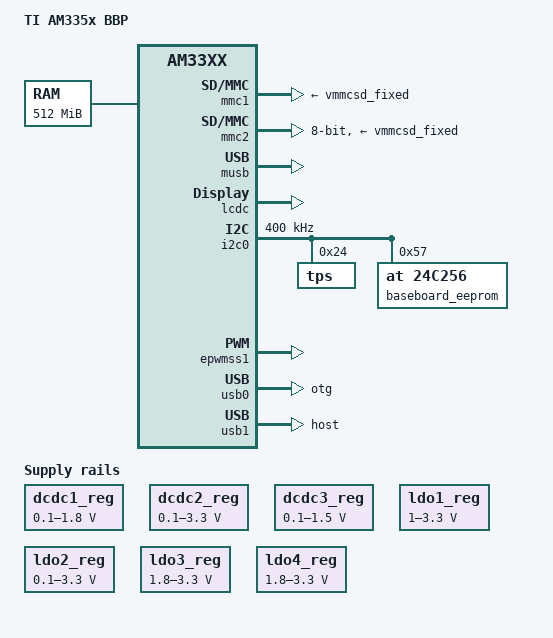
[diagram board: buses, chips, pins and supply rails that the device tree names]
/*
 Copyright (C) 2012 Texas Instruments Incorporated - http://www.ti.com/

 This program is free software; you can redistribute it and/or modify
 it under the terms of the GNU General Public License version 2 as
 published by the Free Software Foundation.
*/
/dts-v1/;

#include "am33xx.dtsi"
#include "am335x-bone-common-no-capemgr.dtsi"
#include "am335x-peripheral-i2c2.dtsi"
#include "am335x-bone-common-universal.dtsi"
#include "am335x-bone-pinmux-can0.dtsi"
#include "am335x-bone-pinmux-can1.dtsi"
//#include "am335x-bone-pinmux-spi0.dtsi"
//#include "am335x-bone-emmc-in-reset.dtsi"
//#include "am335x-bone-pinmux-panel-1024x600-24bit.dtsi"
#include "am33xx-overlay-edma-fix.dtsi"
#include "am33xx-clocks.dtsi"
#include <dt-bindings/board/am335x-bbw-bbb-base.h>
#include <dt-bindings/pinctrl/am33xx.h>
#include <dt-bindings/interrupt-controller/irq.h>
#include <dt-bindings/gpio/gpio.h>
#include <dt-bindings/input/linux-event-codes.h>

/* #include "am335x-bone-jtag.dtsi" */

/ {
	model = "TI AM335x BBP";
	compatible = "ti,am335x-bone-black", "ti,am335x-bone", "ti,am33xx", "ti,beaglebone", "ti,beaglebone-black", "ti,unicron";

	memory {
		device_type = "memory";
		reg = <0x80000000 0x20000000>; /* 512 MB */
	};

	/delete-node/ keymap3_pins;
	/delete-node/ i2c1_pins;
	/delete-node/ gpio_keys;
	/delete-node/ sound;
	/delete-node/ lcd-led0;
	/delete-node/ tlv320aic3x;
//	/delete-node/ edt-ft5306@38;
	/delete-node/ mcasp0_pins;
//	/delete-node/ spi0
//	/delete-node/ spi1;
};

&mmc1 {
	vmmc-supply = <&vmmcsd_fixed>;
	ti,vcc-aux-disable-is-sleep;
};

&mmc2 {
	vmmc-supply = <&vmmcsd_fixed>;
	pinctrl-names = "default";
	pinctrl-0 = <&emmc_pins>;
	bus-width = <8>;
	status = "okay";
	ti,non-removable;
};

&am33xx_pinmux {
/*
	P9_22_spi_pin: pinmux_P9_22_spi_pin {
		pinctrl-single,pins = <
			BONE_P9_22 (PIN_INPUT_PULLDOWN | MUX_MODE0) 	// (A17) spi0_sclk.spi0_sclk
		>;
	};
	P9_21_spi_pin: pinmux_P9_21_spi_pin {
		pinctrl-single,pins = <
			BONE_P9_21 (PIN_INPUT_PULLUP | MUX_MODE0)	// (B17) spi0_d0.spi0_d0
		>;
	};
	P9_18_spi_pin: pinmux_P9_18_spi_pin {
		pinctrl-single,pins = <
			BONE_P9_18 (PIN_INPUT_PULLDOWN | MUX_MODE0)	// (B16) spi0_d1.spi0_d1
		>;
	};
	P9_17_spi_pin: pinmux_P9_17_spi_pin {
		pinctrl-single,pins = <
			BONE_P9_17 (PIN_INPUT_PULLUP | MUX_MODE0)	// (A16) spi0_cs0.spi0_cs0
		>;
	};
*/
/*
	bb_spi1_pins: pinmux_bb_spi1_pins {
		pinctrl-single,pins = <
			BONE_P9_31 (PIN_OUTPUT_PULLDOWN | MUX_MODE3) // P9_31: mcasp0_aclkx.spi1_sclk
			BONE_P9_29 (PIN_INPUT_PULLDOWN | MUX_MODE3) // P9_29: mcasp0_fsx.spi1_d0
			BONE_P9_30 (PIN_OUTPUT_PULLDOWN | MUX_MODE3) // P9_30: mcasp0_axr0.spi1_d1
			BONE_P9_28 (PIN_OUTPUT_PULLUP | MUX_MODE3) // P9_28: mcasp0_ahclkr.spi1_cs0
			//BONE_P9_19 (PIN_OUTPUT_PULLDOWN | MUX_MODE4) // P9_19: uart1_rtsn.spi1_cs1
			>;
		      };
*/
/*	ecap0_default_pins: pinmux_ecap0_default_pins {
		pinctrl-single,pins = <
			BONE_P9_42A (PIN_OUTPUT_PULLDOWN | MUX_MODE0)       // eCAP0_in_PWM0_out.eCAP0_in_PWM0_out MODE0
		>;
	};
*/
/*	ehrpwm0_pins: pinmux_ehrpwm0_pins {
	//P9_22_pwm_pin: pinmux_P9_22_pwm_pin {
		pinctrl-single,pins = <
			BONE_P9_22 (PIN_OUTPUT_PULLDOWN | MUX_MODE3)	// spi0_sclk.ehrpwm0A
		>;
	};
	P9_21_pwm_pin: pinmux_P9_21_pwm_pin {
		pinctrl-single,pins = <
			BONE_P9_21 (PIN_OUTPUT_PULLDOWN | MUX_MODE3)	// spi0_d0.ehrpwm0B
		>;
	};*/
/* BBP ONLY
	ehrpwm1a_pins: pinmux_ehrpwm1a_pins {
		pinctrl-single,pins = <
			AM33XX_IOPAD(0x848, PIN_OUTPUT_PULLDOWN | MUX_MODE6)     // gpmc_a2.ehrpwm1a
		>;
	};
*/

//	ehrpwm1b_pins: pinmux_ehrpwm1b_pins {
/*	P9_16_pwm_pin: pinmux_P9_16_pwm_pin {
		pinctrl-single,pins = <
			BONE_P9_16 (PIN_OUTPUT_PULLDOWN | MUX_MODE6)     // gpmc_a3.ehrpwm1b
		>;
	};

	gpio_leds_pins: pinmux_gpio_leds_pins {
		pinctrl-single,pins = <
			0x198 (PIN_OUTPUT_PULLDOWN | MUX_MODE7)			// mcasp0_aclkr.gpio3_18
		>;
	};
*/
//	P9_20_i2c_pin: pinmux_P9_20_i2c_pin {
//		pinctrl-single,pins = <0x178  0x73>; };     /* (SLEWCTRL_SLOW | PIN_INPUT_PULLUP | MUX_MODE3) */

	pwr_button_pins: pinmux_pwr_button_pins {
		pinctrl-single,pins = <
			BONE_P9_30 (PIN_INPUT_PULLDOWN | MUX_MODE7) // mcasp0_axr0.gpio3_16
		>;
	};
	usb0_pins: pinmux_usb0_pins {
		pinctrl-single,pins = <
			0x21c (PIN_OUTPUT_PULLDOWN | MUX_MODE0) // usb0_drvvbus.usb0_drvvbus
		>;
	};

	usb1_pins: pinmux_usb1_pins {
		pinctrl-single,pins = <
			0x234 (PIN_OUTPUT_PULLDOWN | MUX_MODE0) // usb1_drvvbus.usb1_drvvbus
		>;
	};

/*
	bb_lcd_pwm_backlight_pins: pinmux_bb_lcd_pwm_backlight_pins {
		pinctrl-single,pins = <
			0x1b0 (PIN_OUTPUT_PULLUP | MUX_MODE7)	// xdma_event_intr0.gpio0_19
		>;
	};
*/
/*	user_leds_default: user_leds_default {
	      pinctrl-single,pins = <
			BONE_P9_42B (PIN_OUTPUT_PULLDOWN | MUX_MODE7)	// mcasp0_aclkr.gpio3_18
		>;
	};
	user_leds_sleep: user_leds_sleep {
	      pinctrl-single,pins = <
			BONE_P9_42B (PIN_INPUT_PULLDOWN | MUX_MODE7)	// mcasp0_aclkr.gpio3_18
		>;
	};
*/
	//edt_ft5306_ts_pins: pinmux_edt_ft5306_ts_pins
	P9_91_gpio_pd_pin: pinmux_P9_91_gpio_pd_pin {
	      pinctrl-single,pins = <
			BONE_P9_41B (PIN_OUTPUT_PULLUP | MUX_MODE7)	// mcasp0_axr1.gpio3_20
		>;
	};
	drv8825_stepper_pins: pinmux_drv8825_stepper_pins {
		pinctrl-single,pins = <
			0x54 (PIN_OUTPUT_PULLDOWN | MUX_MODE7)		/* gpmc_a5.gpio1_21, step x */
			0x58 (PIN_OUTPUT_PULLDOWN | MUX_MODE7)		/* gpmc_a6.gpio1_22, step y */ 
			0x5C (PIN_OUTPUT_PULLDOWN | MUX_MODE7)		/* gpmc_a7.gpio1_23, step z */
			BONE_P9_12 (PIN_OUTPUT_PULLDOWN | MUX_MODE7)	/* gpmc_ben1.gpio1_28, step ext1 */
			0x60 (PIN_OUTPUT_PULLDOWN | MUX_MODE7)		/* gpmc_a8.gpio1_24, step ext2 */
			0x64 (PIN_OUTPUT_PULLDOWN | MUX_MODE7)		/* gpmc_a9.gpio1_25, step ext3 */ 
			0x6C (PIN_OUTPUT_PULLDOWN | MUX_MODE7)		/* gpmc_a11.gpio1_27, step user */
			0X07 (PIN_OUTPUT_PULLDOWN | MUX_MODE7)		/* gpmc_a2.gpio1_18, step exp */
			0x88 (PIN_OUTPUT_PULLDOWN | MUX_MODE7)		/* gpmc_csn3.gpio2_0, dir x */
			BONE_P8_10 (PIN_OUTPUT_PULLDOWN | MUX_MODE7)	/* gpmc_gpmc_wen.gpio2_4, dir y */
			BONE_P8_08 (PIN_OUTPUT_PULLDOWN | MUX_MODE7)	/* gpmc_oen_ren.gpio2_3, dir z */
			BONE_P8_07 (PIN_OUTPUT_PULLDOWN | MUX_MODE7)	/* gpmc_advn_ale.gpio2_2, dir ext1 */
			BONE_P8_09 (PIN_OUTPUT_PULLDOWN | MUX_MODE7)	/* gpmc_ben0_cle.gpio2_5, dir ext2 */
			0x1E4 (PIN_OUTPUT_PULLDOWN | MUX_MODE7)		/* emu0.gpio3_7, dir ext3 */
			0x1E8 (PIN_OUTPUT_PULLDOWN | MUX_MODE7)		/* emu1.gpio3_8, dir user */
			BONE_P9_41A (PIN_OUTPUT_PULLDOWN | MUX_MODE7)	/* xdma_event_intr1.gpio0_20, dir exp */
			BONE_P9_20 (PIN_OUTPUT_PULLDOWN | MUX_MODE7)	/* uart1_ctsn.gpio0_12, 12V-EN */
		>;
	};

/*
	lmsw_pins: pinmux_lmsw_pins {
		pinctrl-single,pins = <
			BONE_P8_18 (PIN_INPUT_PULLUP | MUX_MODE7)	// gpmc_clk.gpio2_1
			BONE_P9_23 (PIN_INPUT_PULLUP | MUX_MODE7)	// gpmc_a1.gpio1_17
			BONE_P9_13 (PIN_INPUT_PULLUP | MUX_MODE7)	// gpmc_wpn.gpio0_31
			BONE_P9_11 (PIN_INPUT_PULLUP | MUX_MODE7)	// gpmc_wait0.gpio0_30
			BONE_P8_26 (PIN_INPUT_PULLUP | MUX_MODE7)	// gpmc_csn0.gpio1_29
			BONE_P9_24 (PIN_INPUT_PULLUP | MUX_MODE7)	// uart1_txd.gpio0_15
		>;

	};
*/
};

&tps {
	ti,pmic-shutdown-controller;
};

&dcdc1_reg {
	regulator-name = "vdds_osc,vdds_pll_ddr,vdds_pll_mpu,vdds_pll_core_lcd,vdds_sram_mpu_bb,vdds_sram_core_bg,vdda_usb0_1p8v,vdds_ddr,vdds,vdds_vx_1p8v,vdda_adc,ddr2";
	regulator-min-microvolt = <100000>;
	regulator-max-microvolt = <1800000>;
	regulator-boot-on;
};

&dcdc2_reg {
	regulator-min-microvolt = <100000>;
	regulator-max-microvolt = <3300000>;
	regulator-ramp-delay = <70000>;
};

&dcdc3_reg {
	regulator-min-microvolt = <100000>;
	regulator-max-microvolt = <1500000>;
};

&ldo1_reg {
	regulator-name = "vdds_rtc";
	regulator-min-microvolt = <1000000>;
	regulator-max-microvolt = <3300000>;
	regulator-boot-on;
};

&ldo2_reg {
	regulator-name = "vdds_any_pn";
	regulator-min-microvolt = <100000>;
	regulator-max-microvolt = <3300000>;
	regulator-boot-on;
};

&ldo3_reg {
	regulator-name = "vdds_hvx_ldo3_3p3v,vdda_usb0_3p3v";
	regulator-min-microvolt = <1800000>;
	regulator-max-microvolt = <3300000>;
	regulator-boot-on;
};

&ldo4_reg {
	regulator-name = "vdds_hvx_ldo4_3p3";
	regulator-min-microvolt = <1800000>;
	regulator-max-microvolt = <3300000>;
	regulator-boot-on;
};

&ocp {

	P8_11_pinmux {
		status = "disabled";
	};
	P8_12_pinmux {
		status = "disabled";
	};
	P8_13_pinmux {
		status = "disabled";
	};
	P8_14_pinmux {
		status = "disabled";
	};
	P8_15_pinmux {
		status = "disabled";
	};
	P8_16_pinmux {
		status = "disabled";
	};
	P8_17_pinmux {
		status = "disabled";
	};
	P8_18_pinmux {
		status = "disabled";
		//mode = "gpio_pu";
	};
	P8_19_pinmux {
		status = "disabled";
	};
	P8_26_pinmux {
		mode = "gpio_pu";
	};
	P8_27_pinmux {
		status = "disabled";
	};
	P8_28_pinmux {
		status = "disabled";
	};
	P8_29_pinmux {
		status = "disabled";
	};
	P8_30_pinmux {
		status = "disabled";
	};
	P8_31_pinmux {
		status = "disabled";
	};
	P8_32_pinmux {
		status = "disabled";
	};
	P8_33_pinmux {
		status = "disabled";
	};
	P8_34_pinmux {
		status = "disabled";
	};
	P8_35_pinmux {
		status = "disabled";
	};
	P8_36_pinmux {
		status = "disabled";
	};
	P8_37_pinmux {
		status = "disabled";
	};
	P8_38_pinmux {
		status = "disabled";
	};
	P8_39_pinmux {
		status = "disabled";
	};
	P8_40_pinmux {
		status = "disabled";
	};
	P8_41_pinmux {
		status = "disabled";
	};
	P8_42_pinmux {
		status = "disabled";
	};
	P8_43_pinmux {
		status = "disabled";
	};
	P8_44_pinmux {
		status = "disabled";
	};
	P8_45_pinmux {
		status = "disabled";
	};
	P8_46_pinmux {
		status = "disabled";
	};
	P9_11_pinmux {
		mode = "gpio_pu";
	};
	P9_13_pinmux {
		status = "disabled";
		//mode = "gpio_pu";
	};
	P9_14_pinmux {
		status = "disabled";
	};
	P9_16_pinmux {
	//	mode = "pwm";
		status = "disabled";
	};
	P9_17_pinmux {
		status = "disabled";
		//mode = "spi";
	};
	P9_18_pinmux {
		status = "disabled";
		//mode = "spi";
	};
	P9_19_pinmux {
		status = "disabled";
		//mode = "i2c";
	};
	P9_20_pinmux {
		status = "disabled";//disabled
		//mode = "i2c";
	};
	P9_21_pinmux {
		status = "disabled";
		//mode = "pwm";
	};
	P9_22_pinmux {
		status = "disabled";
		//mode = "pwm";
	};
	P9_23_pinmux {
		mode = "gpio_pu";
	};
	P9_24_pinmux {
	status = "disabled";
//		mode = "gpio_pu";
	};
	P9_25_pinmux {
		status = "disabled";
		//mode = "gpio_pu";
	};
	P9_26_pinmux {
		status = "disabled";
	};
	P9_27_pinmux {
		status = "disabled";
		//mode = "gpio_pd";
	};
	P9_28_pinmux {
		status = "disabled";
	};
	P9_29_pinmux {
		status = "disabled";
	};
	P9_30_pinmux {
		status = "disabled";
	};
	P9_31_pinmux {
		status = "disabled";
	};
	P9_42_pinmux {
		status = "disabled";
	};
	P9_91_pinmux {
		//mode = "gpio_pd";
		status = "disabled";
	};
	P9_92_pinmux {
		status = "disabled";
//		mode = "gpio_pd";
	};

	cape-universal {
		/delete-node/ P8_18;
		/delete-node/ P9_11;
		/delete-node/ P9_14;
		/delete-node/ P9_15;

		/delete-node/ P9_16;
		/delete-node/ P9_17;
		/delete-node/ P9_18;
		/delete-node/ P9_19;
		/delete-node/ P9_20;
		/delete-node/ P9_21;
		/delete-node/ P9_22;
		/delete-node/ P9_23;
		/delete-node/ P9_24;
		/delete-node/ P9_25;
		/delete-node/ P9_26;
		/delete-node/ P9_27;
		/delete-node/ P9_91;
		/delete-node/ P9_92;
	};




/*
	epwmss0: epwmss@48300000 {
		status = "okay";
		ecap0: ecap@48300100 {
			status = "disabled";
			pinctrl-names = "default";
			pinctrl-0 = <&ecap0_default_pins>;
		};
	};
*/
	musb: usb@47400000 {
	      status = "okay";

	      control@44e10000 {
		      status = "okay";
	      };

	      usb-phy@47401300 {
		      status = "okay";
	      };

	      usb-phy@47401b00 {
		      status = "okay";
	      };

	      usb@47401000 {
		      status = "okay";
		      dr_mode = "otg";
	      };

	      usb@47401800 {
		      status = "okay";
		      dr_mode = "host";
	      };

	      dma-controller@07402000  {
		      status = "okay";
	      };
	};

};
&lcdc {
	compatible = "ti,am3352-lcdc", "ti,da830-lcdc";
	status = "okay";

	display-timings {
		1024x600 {
			clock-frequency = <51200000>;
			hactive = <1024>;
			vactive = <600>;
			hfront-porch = <160>;
			hback-porch = <140>;
			hsync-len = <20>;
			vback-porch = <22>;
			vfront-porch = <12>;
			vsync-len = <3>;
			hsync-active = <1>;
			vsync-active  = <1>;
			de-active = <1>;
			pixelclk-active = <0>;
		};
	};
};

/*
	lmsw: lmsw@0 {
		status = "okay";
		pinctrl-names = "default";
		pinctrl-0 = <>;//&lmsw_pins>;
		compatible = "platform:lmsw", "lmsw", "lmsw_min_x", "lmsw_min_y", "lmsw_min_y", "lmsw_max_x", "lmsw_max_y", "lmsw_max_z";
		min_x: lmsw_min_x@0 {
			gpios = <&gpio2 1 GPIO_ACTIVE_HIGH>;
			level = <0>;
			value = <KEY_F1>;
			lmsw-name = "lmsw_min_x";
		};
		min_y: lmsw_min_y@1 {
			gpios = <&gpio1 17 GPIO_ACTIVE_HIGH>;
			level = <0>;
			value = <KEY_F2>;
			lmsw-name = "lmsw_min_y";
		};
		min_z: lmsw_min_z@2 {
			gpios = <&gpio0 31 GPIO_ACTIVE_HIGH>;
			level = <0>;
			value = <KEY_F3>;
			lmsw-name = "lmsw_min_z";
		};
		max_x: lmsw_max_x@3 {
			gpios = <&gpio0 30 GPIO_ACTIVE_HIGH>;
			level = <0>;
			value = <KEY_F4>;
			lmsw-name = "lmsw_max_x";
		};
		max_y: lmsw_max_y@4 {
			gpios = <&gpio1 29 GPIO_ACTIVE_HIGH>;
			level = <0>;
			value = <KEY_F5>;
			lmsw-name = "lmsw_max_y";
		};
		max_z: lmsw_max_z@5 {
			gpios = <&gpio0 15 GPIO_ACTIVE_HIGH>;
			level = <0>;
			value = <KEY_F6>;
			lmsw-name = "lmsw_max_z";
		};
	};

	onewire {
		compatible = "w1-gpio";
		gpios = <&gpio1 6 GPIO_ACTIVE_LOW>;
		status = "okay";
	};
*/
/*
&spi0 {
	compatible = "spi-gpio";
	pinctrl-names = "default";
	pinctrl-0 = <>;//&bb_spi0_pins>;
	status = "okay";
	num-chipselects = <1>;
	ti,spi-num-cs = <1>;

	max6675: max6675_spi@0 {
		compatible = "max6675";
		reg = <0>;
		registers-number = <1>;
		spi-max-frequency = <2000000>;

		gpio-controller;

	};
};

&spi1 {
	compatible = "spi-gpio";
	pinctrl-names = "default";
	pinctrl-0 = <;
	status = "okay";
	num-chipselects = <2>;

	hc595: stepper_spi@0 {
		compatible = "fairchild,74hc595", "stepper_spi";
		reg = <0>;
		registers-number = <1>;
		spi-max-frequency = <2000000>;

		gpio-controller;

	};

	dac088: dac088_spi@0 {
		compatible = "dac088_regulator";
		gpio-controller;
		reg = <1>;
		registers-number = <2>;
		spi-max-frequency = <2000000>;
	};
};
*/
&i2c0 {
	pinctrl-names = "default";
	pinctrl-0 = <>;//&i2c0_pins>;

	status = "okay";
	clock-frequency = <400000>;

	tps: tps@24 {
		reg = <0x24>;
	};

	baseboard_eeprom: baseboard_eeprom@50 {
		compatible = "at,24c256";
		reg = <0x57>;

		#address-cells = <1>;
		#size-cells = <1>;
		baseboard_data: baseboard_data@0 {
			reg = <0 0x100>;
		};
	};
/*
	tps65217_pwr_button: tps65217_pwr_button@24 {
		pinctrl-names = "default";
		pinctrl-0 = <&pwr_button_pins>;
		compatible = "ti,tps65217_pwr_but";
		interrupt-parent = <&tps>;
		#address-cells = <1>;
		#size-cells = <1>;
	};
*/
};


&i2c1 {
status = "disabled";
};

&i2c2 {
	pinctrl-names = "default";
	pinctrl-0 = <>;//&i2c2_pins>;

/*
        edt_ft5306: edt-ft5306@38 {
		status = "okay";
		compatible = "edt,edt-ft5336", "edt,edt-ft5306", "edt,edt-ft5x06";
		pinctrl-names = "default";
		pinctrl-0 = <>;//&edt_ft5306_ts_pins>;

                reg = <0x38>;
                interrupt-parent = <&gpio3>;
                interrupts = <19 IRQ_TYPE_EDGE_FALLING>;

		reset-gpios = <&gpio3 20 GPIO_ACTIVE_LOW>;
		wake-gpios = <&gpio3 21 GPIO_ACTIVE_LOW>;

		touchscreen-size-x = <1024>;
		touchscreen-size-y = <600>;
		touchscreen-swapped-x-y;
        };
*/
/*	pca9685_pwm: pca@7f {
		status = "okay";
		compatible = "nxp,pca9685-pwm";
		#pwm-cells = <2>;
		reg = <0x7f>;
	};
	ads1015: ads1015@48 {
		 compatible = "ti,ads1015";
		 status = "okay";
		#address-cells = <1>;
		#size-cells = <0>;
		 reg = <0x49>;
		 channel@1 {
			 reg = <4>;
			 ti,gain = <2>;
			 ti,datarate = <4>;
		 };
		 channel@2 {
			 reg = <5>;
			 ti,gain = <2>;
			 ti,datarate = <4>;
		 };
		 channel@3 {
			 reg = <6>;
			 ti,gain = <2>;
			 ti,datarate = <4>;
		 };
		 channel@4 {
			 reg = <7>;
			 ti,gain = <2>;
			 ti,datarate = <4>;
		 };
	 };
*/
};


&wkup_m3 {
	ti,pm-firmware = "am335x-pm-firmware.elf";
};

&epwmss1 {
	status = "okay";
};

/*
&ehrpwm0 {
	status = "okay";
	pinctrl-names = "default";
	pinctrl-0 = <>;//&ehrpwm0_pins>;
};

&ehrpwm1 {
	status = "okay";
	pinctrl-names = "default";
	pinctrl-0 = <&ehrpwm1b_pins>;
};

&timing0 {
	clock-frequency = <51200000>;
	hfront-porch = <160>;
	hback-porch = <140>;
	hsync-len = <20>;
	vback-porch = <22>;
	vfront-porch = <12>;
	vsync-len = <3>;
	hsync-active = <1>;
	vsync-active = <1>;
	de-active = <1>;
	pixelclk-active = <0>;
};
*/
&usb0 {
	dr_mode = "otg";
	status = "okay";
	pinctrl-names = "default";
	pinctrl-0 = <&usb0_pins>;
	dma-names =
	"rx16", "rx17", "rx18", "rx19", "rx20", "rx21", "rx22",
	"rx23", "rx24", "rx25", "rx26", "rx27", "rx28",
	"rx29", "rx30",
	"tx16", "tx17", "tx18", "tx19", "tx20", "tx21", "tx22",
	"tx23", "tx24", "tx25", "tx26", "tx27", "tx28",
	"tx29", "tx30";
};

&usb1 {
	dr_mode = "host";
	status = "okay";
	pinctrl-names = "default";
	pinctrl-0 = <&usb1_pins>;
	dma-names =
	"rx16", "rx17", "rx18", "rx19", "rx20", "rx21", "rx22",
	"rx23", "rx24", "rx25", "rx26", "rx27", "rx28",
	"rx29", "rx30",
	"tx16", "tx17", "tx18", "tx19", "tx20", "tx21", "tx22",
	"tx23", "tx24", "tx25", "tx26", "tx27", "tx28",
	"tx29", "tx30";
};

&mcasp0 {
	status = "disabled";
};

/*
&tscadc {
	status = "okay";
	tsc {
		ti,wires = <4>;
		ti,x-plate-resistance = <200>;
		ti,coordinate-readouts = <5>;
		ti,wire-config = <0x00 0x11 0x22 0x33>;
	};

	adc {
		ti,adc-channels = <0 1 2 3>;
	};
};
*/
/ {
	bone_capemgr {
               compatible = "ti,bone-capemgr";
               status = "okay";

               nvmem-cells = <&baseboard_data>;
               nvmem-cell-names = "baseboard";
               #slots = <0>;

		/* map board revisions to compatible definitions */
		baseboardmaps {
			baseboard_unicron: board@0 {
				board-name = "BBP1S";
				compatible-name = "ti,beaglebone-black";
				revision = "0A5A";
			};
		};
	};
/*
	backlight {
		status = "okay";
		pinctrl-names = "default";
		pinctrl-0 = <&bb_lcd_pwm_backlight_pins>;
		compatible = "pwm-backlight";
		pwms = <&ehrpwm1 1 500000>;
		brightness-levels = <0 10 20 30 40 50 60 70 80 90 100>;
		default-brightness-level = <10>;
	};
*/
/*	leds {
		pinctrl-names = "default", "sleep";
		pinctrl-0 = <&user_leds_default>;
		pinctrl-1 = <&user_leds_sleep>;

		compatible = "gpio-leds";

		led@1 {
			label = "unicron:blue:usr1";
			gpios = <&gpio3 18 GPIO_ACTIVE_HIGH>;
			linux,default-trigger = "default-on";
			default-state = "off";
		};
		/delete-node/ led@2;
		/delete-node/ led@3;
		/delete-node/ led@4;
		/delete-node/ led@5;
	};*/

/*
	panel {
		panel-info {
			ac-bias           = <255>;
			ac-bias-intrpt    = <0>;
			dma-burst-sz      = <16>;
			bpp               = <32>;
			fdd               = <0x80>;
			sync-edge         = <0>;
			sync-ctrl         = <1>;
			raster-order      = <0>;
			fifo-th           = <0>;
		};
		display-timings {
			native-mode = <&timing0>;
		};
	};
*/
};
